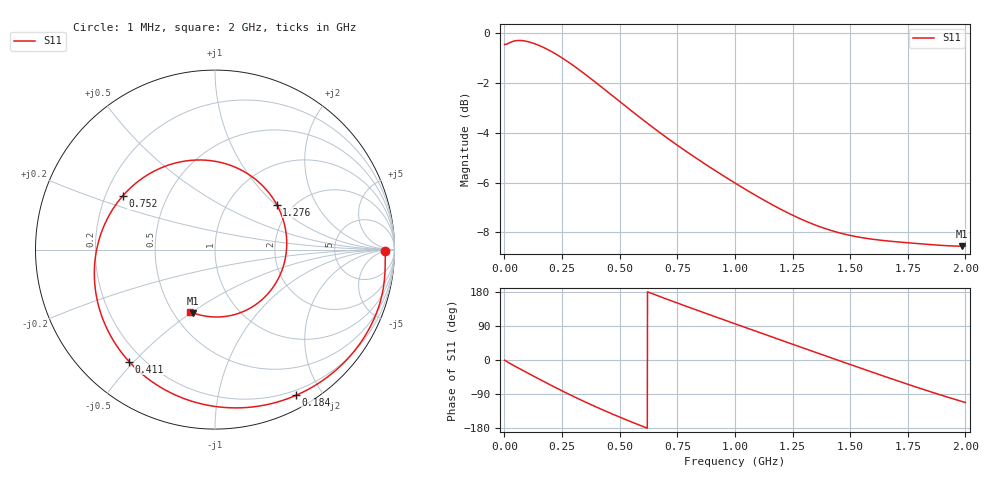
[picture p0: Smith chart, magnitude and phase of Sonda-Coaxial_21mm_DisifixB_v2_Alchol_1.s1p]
! TOUCHSTONE file generated by CST MICROWAVE STUDIO
! Date and time: Sat Aug  1 23:57:45 2026
! Project name: Sonda-Coaxial_21mm_DisifixB_v2_Alchol.cst
! Parameters = {h_recipiente=20; l_conector=50; r_arandela=35; r_ext=10.5; r_int=3; r_recipiente=100; z_recipiente=-30}
! Header version: 2018
! Port assignment regex: !\s*Touchstone port\s*([0-9]+)\s*=\s*(CST MWS port|CST DS port)\s*([0-9]+|Zmin|Zmax)\s*\(\"(.*)\"\)(\s*mode\s*([0-9]+))?.*
! Touchstone port assignment:
! Touchstone port 1 = CST MWS port 1 ("")
# GHz S RI R 50
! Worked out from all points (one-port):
!   2000 points, 1 MHz to 2 GHz, reference 50 ohm
!   lowest |S11| = -8.6 dB at 1.985 GHz (marker M1), VSWR 2.19, Z = 31 - j25.4 ohm
!   |S11| at or under -10 dB: nowhere
!   S11 on the Smith chart (normalised r, x): 1 MHz: 37, -5; 184 MHz: 0.14, -1.69; 411 MHz: 0.15, -0.49; 752 MHz: 0.27, +0.25; 1.276 GHz: 1.66, +1.02; 2 GHz: 0.61, -0.49
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0.001  0.9488 -0.00641
0.042  0.9308 -0.2506
0.082  0.851 -0.4556
0.135  0.6686 -0.6761
0.184  0.4514 -0.812
0.217  0.2932 -0.8629
0.251  0.1296 -0.8818
0.324  -0.1928 -0.8222
0.411  -0.478 -0.6245
0.456  -0.5744 -0.493
0.501  -0.6366 -0.3542
0.556  -0.6703 -0.1851
0.615  -0.6621 -0.015
0.679  -0.6116 0.1477
0.751  -0.5164 0.2964
0.752  -0.5148 0.2982
0.875  -0.2949 0.4577
1.001  -0.0471 0.4979
1.116  0.1551 0.4384
1.251  0.3233 0.285
1.276  0.3443 0.2503
1.387  0.3968 0.0859
1.501  0.3839 -0.0821
1.635  0.2927 -0.2485
1.751  0.1647 -0.3419
1.864  0.0213 -0.3753
1.985  -0.1245 -0.3523
2  -0.1412 -0.346
